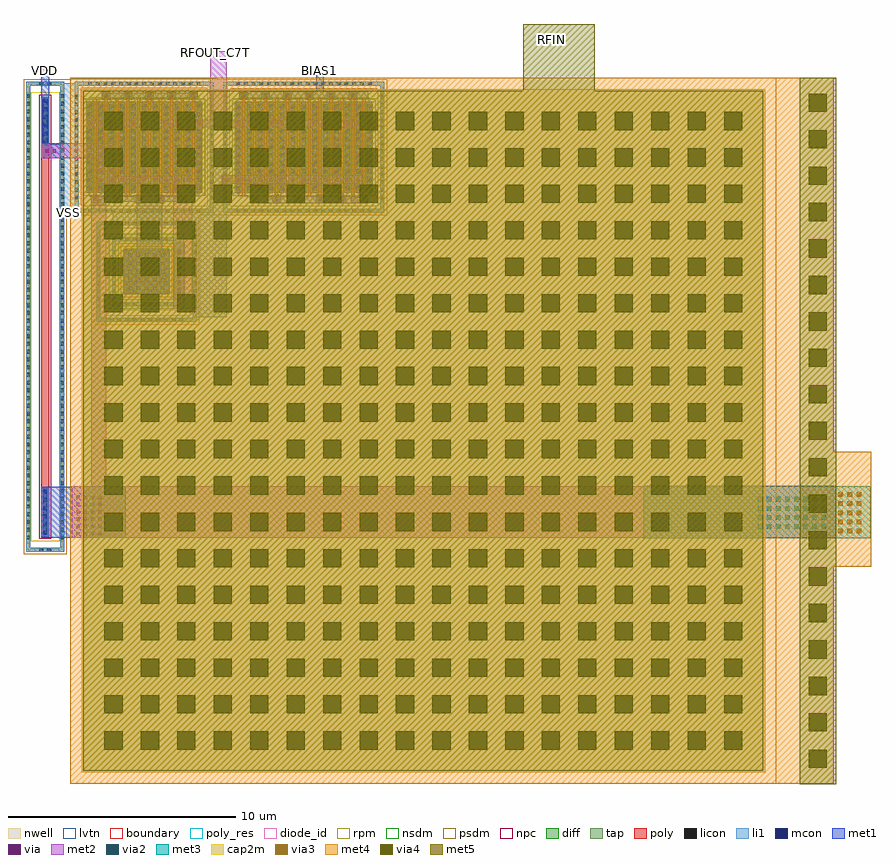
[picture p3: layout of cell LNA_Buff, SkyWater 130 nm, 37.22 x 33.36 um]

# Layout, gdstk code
from math import pi, radians
import gdstk
lib = gdstk.Library(unit=1e-6, precision=1e-09)
def R(c, l, rs):  # rectangles x0, y0, x1, y1
    for r in rs: c.add(gdstk.rectangle(r[:2], r[2:], *l))
def A(c, l, x, y, w, h, nx, ny, dx, dy):  # array of equal rectangles
    R(c, l, [(x+i*dx, y+j*dy, x+i*dx+w, y+j*dy+h) for i in range(nx) for j in range(ny)])
nwell = (64, 20)
diff = (65, 20)
tap = (65, 44)
poly_res = (66, 13)
poly = (66, 20)
licon = (66, 44)
li1 = (67, 20)
mcon = (67, 44)
met1 = (68, 20)
via = (68, 44)
met2 = (69, 20)
via2 = (69, 44)
met3 = (70, 20)
via3 = (70, 44)
met4 = (71, 20)
via4 = (71, 44)
met5 = (72, 20)
diode_id = (81, 23)
rpm = (86, 20)
nsdm = (93, 44)
psdm = (94, 20)
npc = (95, 20)
cap2m = (97, 44)
lvtn = (125, 44)
boundary = (235, 4)

sky130_fd_pr__nfet_01v8_ = lib.new_cell('sky130_fd_pr__nfet_01v8_lvt_KVAFL2')
R(sky130_fd_pr__nfet_01v8_, diff, [(-2.545,-2,2.545,2)])
R(sky130_fd_pr__nfet_01v8_, tap, [(-3.055,-2.87,3.055,-2.7), (-3.055,-2.7,-2.885,2.7), (2.885,-2.7,3.055,2.7), (-3.055,2.7,3.055,2.87)])
A(sky130_fd_pr__nfet_01v8_, poly, -2.325, -2.44, 0.33, 0.33, 5, 1, 0.96, 0)
A(sky130_fd_pr__nfet_01v8_, poly, -1.755, -2.13, 0.15, 4.24, 5, 1, 0.96, 0)
A(sky130_fd_pr__nfet_01v8_, poly, -2.235, -2.11, 0.15, 4.24, 5, 1, 0.96, 0)
A(sky130_fd_pr__nfet_01v8_, poly, -1.845, 2.11, 0.33, 0.33, 5, 1, 0.96, 0)
A(sky130_fd_pr__nfet_01v8_, licon, -2.465, -2.87, 0.17, 0.17, 15, 2, 0.34, 5.57)
A(sky130_fd_pr__nfet_01v8_, licon, -2.245, -2.36, 0.17, 0.17, 5, 1, 0.96, 0)
A(sky130_fd_pr__nfet_01v8_, licon, -3.055, -2.295, 0.17, 0.17, 1, 14, 0, 0.34)
A(sky130_fd_pr__nfet_01v8_, licon, 2.885, -2.295, 0.17, 0.17, 1, 14, 0, 0.34)
A(sky130_fd_pr__nfet_01v8_, licon, -2.485, -1.785, 0.17, 0.17, 11, 11, 0.48, 0.34)
A(sky130_fd_pr__nfet_01v8_, licon, -1.765, 2.19, 0.17, 0.17, 5, 1, 0.96, 0)
A(sky130_fd_pr__nfet_01v8_, li1, -2.325, -2.36, 0.33, 0.17, 5, 1, 0.96, 0)
A(sky130_fd_pr__nfet_01v8_, li1, -2.485, -2.02, 0.17, 4.04, 11, 1, 0.48, 0)
A(sky130_fd_pr__nfet_01v8_, li1, -1.845, 2.19, 0.33, 0.17, 5, 1, 0.96, 0)
R(sky130_fd_pr__nfet_01v8_, li1, [(-3.055,-2.87,3.055,-2.7), (-3.055,-2.7,-2.885,2.7), (2.885,-2.7,3.055,2.7), (-3.055,2.7,3.055,2.87)])
A(sky130_fd_pr__nfet_01v8_, mcon, -2.245, -2.36, 0.17, 0.17, 5, 1, 0.96, 0)
A(sky130_fd_pr__nfet_01v8_, mcon, -2.485, -1.885, 0.17, 0.17, 11, 11, 0.48, 0.36)
A(sky130_fd_pr__nfet_01v8_, mcon, -1.765, 2.19, 0.17, 0.17, 5, 1, 0.96, 0)
A(sky130_fd_pr__nfet_01v8_, met1, -2.305, -2.39, 0.29, 0.23, 5, 1, 0.96, 0)
A(sky130_fd_pr__nfet_01v8_, met1, -2.515, -2, 0.23, 4, 11, 1, 0.48, 0)
A(sky130_fd_pr__nfet_01v8_, met1, -1.825, 2.16, 0.29, 0.23, 5, 1, 0.96, 0)
R(sky130_fd_pr__nfet_01v8_, nsdm, [(-2.67,-2.125,2.67,2.125)])
R(sky130_fd_pr__nfet_01v8_, psdm, [(-3.18,-2.995,3.18,-2.575), (-3.18,-2.575,-2.76,2.575), (2.76,-2.575,3.18,2.575), (-3.18,2.575,3.18,2.995)])
A(sky130_fd_pr__nfet_01v8_, npc, -2.345, -2.46, 0.37, 0.37, 5, 1, 0.96, 0)
A(sky130_fd_pr__nfet_01v8_, npc, -1.865, 2.09, 0.37, 0.37, 5, 1, 0.96, 0)
R(sky130_fd_pr__nfet_01v8_, lvtn, [(-2.415,-2.18,2.415,2.18)])
R(sky130_fd_pr__nfet_01v8_, boundary, [(-2.97,-2.785,2.97,2.785)])

c_sky130_fd_pr__nfet_01v8_ = lib.new_cell('sky130_fd_pr__nfet_01v8_lvt_BKUEL6')
R(c_sky130_fd_pr__nfet_01v8_, diff, [(-3.025,-2,3.025,2)])
R(c_sky130_fd_pr__nfet_01v8_, tap, [(-3.535,-2.87,3.535,-2.7), (-3.535,-2.7,-3.365,2.7), (3.365,-2.7,3.535,2.7), (-3.535,2.7,3.535,2.87)])
A(c_sky130_fd_pr__nfet_01v8_, poly, -2.805, -2.44, 0.33, 0.33, 6, 1, 0.96, 0)
A(c_sky130_fd_pr__nfet_01v8_, poly, -2.235, -2.13, 0.15, 4.24, 6, 1, 0.96, 0)
A(c_sky130_fd_pr__nfet_01v8_, poly, -2.715, -2.11, 0.15, 4.24, 6, 1, 0.96, 0)
A(c_sky130_fd_pr__nfet_01v8_, poly, -2.325, 2.11, 0.33, 0.33, 6, 1, 0.96, 0)
A(c_sky130_fd_pr__nfet_01v8_, licon, -2.975, -2.87, 0.17, 0.17, 18, 2, 0.34, 5.57)
A(c_sky130_fd_pr__nfet_01v8_, licon, -2.725, -2.36, 0.17, 0.17, 6, 1, 0.96, 0)
A(c_sky130_fd_pr__nfet_01v8_, licon, -3.535, -2.295, 0.17, 0.17, 1, 14, 0, 0.34)
A(c_sky130_fd_pr__nfet_01v8_, licon, 3.365, -2.295, 0.17, 0.17, 1, 14, 0, 0.34)
A(c_sky130_fd_pr__nfet_01v8_, licon, -2.965, -1.785, 0.17, 0.17, 13, 11, 0.48, 0.34)
A(c_sky130_fd_pr__nfet_01v8_, licon, -2.245, 2.19, 0.17, 0.17, 6, 1, 0.96, 0)
A(c_sky130_fd_pr__nfet_01v8_, li1, -2.805, -2.36, 0.33, 0.17, 6, 1, 0.96, 0)
A(c_sky130_fd_pr__nfet_01v8_, li1, -2.965, -2.02, 0.17, 4.04, 13, 1, 0.48, 0)
A(c_sky130_fd_pr__nfet_01v8_, li1, -2.325, 2.19, 0.33, 0.17, 6, 1, 0.96, 0)
R(c_sky130_fd_pr__nfet_01v8_, li1, [(-3.535,-2.87,3.535,-2.7), (-3.535,-2.7,-3.365,2.7), (3.365,-2.7,3.535,2.7), (-3.535,2.7,3.535,2.87)])
A(c_sky130_fd_pr__nfet_01v8_, mcon, -2.725, -2.36, 0.17, 0.17, 6, 1, 0.96, 0)
A(c_sky130_fd_pr__nfet_01v8_, mcon, -2.965, -1.885, 0.17, 0.17, 13, 11, 0.48, 0.36)
A(c_sky130_fd_pr__nfet_01v8_, mcon, -2.245, 2.19, 0.17, 0.17, 6, 1, 0.96, 0)
A(c_sky130_fd_pr__nfet_01v8_, met1, -2.785, -2.39, 0.29, 0.23, 6, 1, 0.96, 0)
A(c_sky130_fd_pr__nfet_01v8_, met1, -2.995, -2, 0.23, 4, 13, 1, 0.48, 0)
A(c_sky130_fd_pr__nfet_01v8_, met1, -2.305, 2.16, 0.29, 0.23, 6, 1, 0.96, 0)
R(c_sky130_fd_pr__nfet_01v8_, nsdm, [(-3.15,-2.125,3.15,2.125)])
R(c_sky130_fd_pr__nfet_01v8_, psdm, [(-3.66,-2.995,3.66,-2.575), (-3.66,-2.575,-3.24,2.575), (3.24,-2.575,3.66,2.575), (-3.66,2.575,3.66,2.995)])
A(c_sky130_fd_pr__nfet_01v8_, npc, -2.825, -2.46, 0.37, 0.37, 6, 1, 0.96, 0)
A(c_sky130_fd_pr__nfet_01v8_, npc, -2.345, 2.09, 0.37, 0.37, 6, 1, 0.96, 0)
R(c_sky130_fd_pr__nfet_01v8_, lvtn, [(-2.895,-2.18,2.895,2.18)])
R(c_sky130_fd_pr__nfet_01v8_, boundary, [(-3.45,-2.785,3.45,2.785)])

sky130_fd_pr__cap_mim_m3 = lib.new_cell('sky130_fd_pr__cap_mim_m3_2_LJ5JLG')
R(sky130_fd_pr__cap_mim_m3, met4, [(-16.755,-15.5,16.755,15.5)])
A(sky130_fd_pr__cap_mim_m3, via4, 15.665, -14.8, 0.8, 0.8, 1, 19, 0, 1.6)
A(sky130_fd_pr__cap_mim_m3, via4, -15.255, -14, 0.8, 0.8, 18, 18, 1.6, 1.6)
R(sky130_fd_pr__cap_mim_m3, met5, [(15.265,-15.505,16.865,15.505), (-16.175,-14.92,13.665,14.92)])
R(sky130_fd_pr__cap_mim_m3, cap2m, [(-16.255,-15,13.745,15)])
R(sky130_fd_pr__cap_mim_m3, boundary, [(-16.755,-15.5,14.245,15.5)])

sky130_fd_pr__res_high_p = lib.new_cell('sky130_fd_pr__res_high_po_0p35_MGFMH8')
R(sky130_fd_pr__res_high_p, tap, [(-0.825,-10.31,0.825,-10.14), (-0.825,-10.14,-0.655,10.14), (0.655,-10.14,0.825,10.14), (-0.825,10.14,0.825,10.31)])
R(sky130_fd_pr__res_high_p, poly_res, [(-0.175,-7.56,0.175,7.56)])
R(sky130_fd_pr__res_high_p, poly, [(-0.175,-9.66,0.175,9.66)])
A(sky130_fd_pr__res_high_p, licon, -0.825, -9.775, 0.17, 0.17, 1, 58, 0, 0.34)
A(sky130_fd_pr__res_high_p, licon, 0.655, -9.775, 0.17, 0.17, 1, 58, 0, 0.34)
R(sky130_fd_pr__res_high_p, licon, [(-0.255,-10.31,-0.085,-10.14), (0.085,-10.31,0.255,-10.14), (-0.095,-9.58,0.095,-7.58), (-0.095,7.58,0.095,9.58), (-0.255,10.14,-0.085,10.31), (0.085,10.14,0.255,10.31)])
R(sky130_fd_pr__res_high_p, li1, [(-0.825,-10.31,0.825,-10.14), (-0.825,-10.14,-0.655,10.14), (0.655,-10.14,0.825,10.14), (-0.175,-9.66,0.175,-7.5), (-0.175,7.5,0.175,9.66), (-0.825,10.14,0.825,10.31)])
A(sky130_fd_pr__res_high_p, mcon, -0.085, -9.565, 0.17, 0.17, 1, 6, 0, 0.36)
A(sky130_fd_pr__res_high_p, mcon, -0.085, 7.59, 0.17, 0.17, 1, 6, 0, 0.36)
R(sky130_fd_pr__res_high_p, met1, [(-0.125,-9.63,0.125,-7.525), (-0.125,7.525,0.125,9.63)])
R(sky130_fd_pr__res_high_p, rpm, [(-0.635,-9.86,0.635,9.86)])
R(sky130_fd_pr__res_high_p, psdm, [(-0.95,-10.435,0.95,10.435)])
R(sky130_fd_pr__res_high_p, npc, [(-0.27,-9.755,0.27,9.755)])
R(sky130_fd_pr__res_high_p, boundary, [(-0.74,-10.225,0.74,10.225)])

sky130_fd_pr__diode_pd2n = lib.new_cell('sky130_fd_pr__diode_pd2nw_05v5_WW7YB9')
R(sky130_fd_pr__diode_pd2n, nwell, [(-1.69,-1.69,1.69,1.69)])
R(sky130_fd_pr__diode_pd2n, diff, [(-1,-1,1,1)])
R(sky130_fd_pr__diode_pd2n, tap, [(-2.2,-2.2,2.2,-2.03), (-2.2,-2.03,-2.03,2.03), (2.03,-2.03,2.2,2.03), (-1.51,-1.51,1.51,-1.34), (-1.51,-1.34,-1.34,1.34), (1.34,-1.34,1.51,1.34), (-1.51,1.34,1.51,1.51), (-2.2,2.03,2.2,2.2)])
A(sky130_fd_pr__diode_pd2n, licon, -1.615, -2.2, 0.17, 0.17, 10, 2, 0.34, 4.23)
A(sky130_fd_pr__diode_pd2n, licon, -2.2, -1.615, 0.17, 0.17, 1, 10, 0, 0.34)
A(sky130_fd_pr__diode_pd2n, licon, 2.03, -1.615, 0.17, 0.17, 1, 10, 0, 0.34)
A(sky130_fd_pr__diode_pd2n, licon, -0.935, -1.51, 0.17, 0.17, 6, 2, 0.34, 0.575)
A(sky130_fd_pr__diode_pd2n, licon, -1.51, -0.935, 0.17, 0.17, 1, 6, 0, 0.34)
A(sky130_fd_pr__diode_pd2n, licon, 1.34, -0.935, 0.17, 0.17, 1, 6, 0, 0.34)
A(sky130_fd_pr__diode_pd2n, licon, -0.935, -0.595, 0.17, 0.17, 6, 5, 0.34, 0.34)
A(sky130_fd_pr__diode_pd2n, licon, -0.935, 1.34, 0.17, 0.17, 6, 1, 0.34, 0)
R(sky130_fd_pr__diode_pd2n, li1, [(-2.2,-2.2,2.2,-2.03), (-2.2,-2.03,-2.03,2.03), (2.03,-2.03,2.2,2.03), (-1.51,-1.51,1.51,-1.34), (-1.51,-1.34,-1.34,1.34), (1.34,-1.34,1.51,1.34), (-1.02,-0.94,1.02,0.94), (-1.51,1.34,1.51,1.51), (-2.2,2.03,2.2,2.2)])
A(sky130_fd_pr__diode_pd2n, mcon, -0.805, -0.805, 0.17, 0.17, 5, 5, 0.36, 0.36)
R(sky130_fd_pr__diode_pd2n, met1, [(-1,-0.97,1,0.97)])
R(sky130_fd_pr__diode_pd2n, diode_id, [(-1,-1,1,1)])
R(sky130_fd_pr__diode_pd2n, nsdm, [(-1.635,-1.635,1.635,-1.215), (-1.635,-1.215,-1.215,1.215), (1.215,-1.215,1.635,1.215), (-1.635,1.215,1.635,1.635)])
R(sky130_fd_pr__diode_pd2n, psdm, [(-2.325,-2.325,2.325,-1.905), (-2.325,-1.905,-1.905,1.905), (1.905,-1.905,2.325,1.905), (-1.125,-1.125,1.125,1.125), (-2.325,1.905,2.325,2.325)])
R(sky130_fd_pr__diode_pd2n, boundary, [(-1.42,-1.42,1.42,1.42)])

lna_buff = lib.new_cell('LNA_Buff')
R(lna_buff, poly, [(12.03,0.34,12.7,0.59), (4.49,0.35,5.21,0.55), (5.05,0.55,5.21,0.68), (12.06,0.59,12.21,0.67), (12.53,0.59,12.7,0.68)])
R(lna_buff, li1, [(5.125,-4.68,6.595,-2.405), (4.41,-3.71,4.58,-1.65), (5.135,-2.405,6.595,-0.605), (1.58,-0.605,6.595,0.07), (-0.7,-0.09,0.09,1.31), (5.885,0.07,6.595,0.37), (5.885,0.37,6.585,1.19), (5.885,1.19,6.63,1.5), (-0.635,1.31,0.005,5.585), (5.885,1.5,6.585,1.79), (5.85,1.79,6.61,2.73)])
A(lna_buff, mcon, 4.41, -3.665, 0.17, 0.17, 1, 6, 0, 0.36)
R(lna_buff, mcon, [(6.455,1.26,6.625,1.43)])
A(lna_buff, met1, 1.85, 1.15, 0.34, 0.4, 4, 1, 0.96, 0)
A(lna_buff, met1, 3.28, 3.62, 0.32, 0.4, 3, 1, 0.97, 0)
R(lna_buff, met1, [(-0.21,-14.36,1.3,-14.35), (-1.55,-14.35,2.17,-12.12), (-0.21,-12.12,1.3,-12.11), (4.235,-3.885,4.755,-1.415), (2.635,-2.735,3.765,0.39), (0.64,0.23,1.3,0.39), (7.61,0.33,12.77,0.37), (7.61,0.37,12.78,0.63), (0.64,0.39,4.82,0.64), (7.61,0.63,12.77,0.64), (2.635,0.64,3.765,0.645), (6.37,1.13,6.64,1.16), (7.42,1.13,7.79,1.57), (9.31,1.13,9.68,1.57), (10.26,1.13,10.63,1.57), (12.2,1.13,12.54,1.17), (8.37,1.14,8.74,1.58), (11.25,1.14,11.61,1.58), (0.9,1.15,1.24,1.55), (6.37,1.16,6.8,1.54), (12.2,1.17,12.55,1.57), (6.37,1.54,6.64,1.56), (12.23,1.57,12.55,1.58), (-1.55,2.3,-0.7,2.91), (-1.55,2.91,-1.2,2.96), (0.44,3.62,0.76,4.02), (7.89,3.62,8.26,4.01), (9.8,3.62,10.17,4.01), (10.76,3.62,11.13,4.01), (12.69,3.62,13.06,4.01), (1.37,3.63,1.69,4.03), (2.37,3.63,2.69,4.03), (6.94,3.63,7.31,4.02), (8.85,3.63,9.22,4.02), (11.75,3.63,12.12,4.02), (-1.56,4.93,-1.19,6.21), (1.11,4.93,5.3,5.18), (7.63,4.93,12.81,4.94), (7.16,4.94,12.81,5.17), (7.63,5.17,12.81,5.23), (1.11,5.18,1.45,5.21), (10.53,5.23,10.86,6.28)])
A(lna_buff, via, -0.01, -14.26, 0.15, 0.15, 4, 6, 0.32, 0.32)
A(lna_buff, via, 4.44, -3.545, 0.15, 0.15, 1, 6, 0, 0.32)
A(lna_buff, via, 8.945, 3.745, 0.15, 0.15, 3, 1, 0.96, 0)
A(lna_buff, via, 3.385, 3.75, 0.15, 0.15, 3, 1, 0.96, 0)
R(lna_buff, via, [(0.905,0.345,1.055,0.495), (0.99,1.275,1.14,1.425), (1.94,1.275,2.09,1.425), (2.91,1.275,3.06,1.425), (3.86,1.275,4.01,1.425), (4.83,1.275,4.98,1.425), (6.535,1.275,6.685,1.425), (12.295,1.275,12.445,1.425), (7.515,1.28,7.665,1.43), (8.475,1.28,8.625,1.43), (9.425,1.28,9.575,1.43), (10.365,1.28,10.515,1.43), (11.355,1.28,11.505,1.43), (-1.375,2.535,-1.225,2.685), (-1.055,2.535,-0.905,2.685), (7.035,3.745,7.185,3.895), (7.995,3.745,8.145,3.895), (11.855,3.745,12.005,3.895), (12.805,3.745,12.955,3.895), (0.54,3.75,0.69,3.9), (1.475,3.75,1.625,3.9), (2.445,3.75,2.595,3.9)])
R(lna_buff, met2, [(-0.21,-14.36,33.34,-12.11), (0.64,-12.11,33.34,-12.1), (0.64,-12.1,1.3,0.6), (30.14,-12.1,33.34,-12.09), (4.235,-4.315,5.07,1.18), (6.41,1.16,6.78,1.17), (6.41,1.17,12.54,1.54), (0.9,1.18,5.07,1.52), (0.9,1.52,1.61,2.3), (4.235,1.52,5.07,1.555), (-1.55,2.3,1.62,2.96), (12.69,3.62,13.06,3.66), (0.45,3.66,13.06,3.99), (5.87,3.99,6.6,7), (12.69,3.99,13.06,4.01)])
A(lna_buff, via2, 29.9, -13.97, 0.2, 0.2, 8, 4, 0.4, 0.4)
R(lna_buff, met3, [(24.88,-14.39,34.87,-12.09), (24.88,-12.09,33.27,-12.07)])
A(lna_buff, via3, 33.44, -14.165, 0.2, 0.2, 3, 5, 0.4, 0.4)
R(lna_buff, met4, [(33.04,-15.64,34.89,-10.58)])
R(lna_buff, met5, [(19.61,2.91,22.74,8.19)])
R(lna_buff, psdm, [(0.745,-0.355,5.395,-0.21), (-0.425,-0.21,-0.21,5.775), (6.15,-0.21,6.315,5.775)])
lna_buff.add(gdstk.Reference(sky130_fd_pr__nfet_01v8_, (2.97,2.785)))
lna_buff.add(gdstk.Reference(c_sky130_fd_pr__nfet_01v8_, (9.975,2.78), rotation=pi, x_reflection=True))
lna_buff.add(gdstk.Reference(sky130_fd_pr__cap_mim_m3, (16.475,-9.665)))
lna_buff.add(gdstk.Reference(sky130_fd_pr__res_high_p, (-1.375,-4.66)))
lna_buff.add(gdstk.Reference(sky130_fd_pr__diode_pd2n, (3.07,-2.68)))
lna_buff.add(gdstk.Label('BIAS1', (10.68,6.15), layer=68, texttype=5))
lna_buff.add(gdstk.Label('RFIN', (20.83,7.5), layer=72, texttype=5))
lna_buff.add(gdstk.Label('RFOUT_C7T', (6.12,6.94), layer=69, texttype=5))
lna_buff.add(gdstk.Label('VDD', (-1.4,6.15), layer=68, texttype=5))
lna_buff.add(gdstk.Label('VSS', (-0.34,-0.09), layer=67, texttype=5))

lib.write_gds('LNA_Buff.gds')
